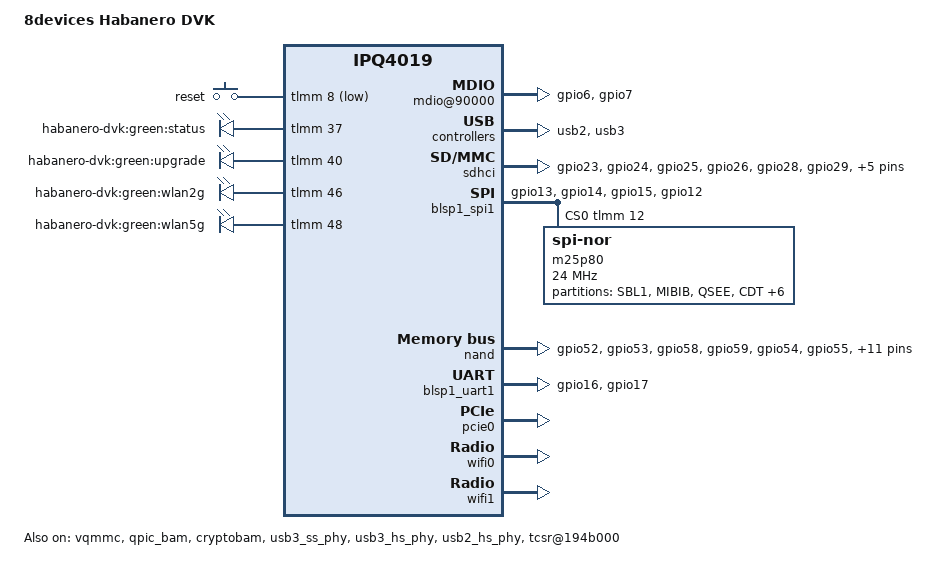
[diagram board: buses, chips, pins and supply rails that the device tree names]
/* Copyright (c) 2015, The Linux Foundation. All rights reserved.
 * Copyright (c) 2019, Robert Marko <robimarko@gmail.com>
 *
 * Permission to use, copy, modify, and/or distribute this software for any
 * purpose with or without fee is hereby granted, provided that the above
 * copyright notice and this permission notice appear in all copies.
 *
 * THE SOFTWARE IS PROVIDED "AS IS" AND THE AUTHOR DISCLAIMS ALL WARRANTIES
 * WITH REGARD TO THIS SOFTWARE INCLUDING ALL IMPLIED WARRANTIES OF
 * MERCHANTABILITY AND FITNESS. IN NO EVENT SHALL THE AUTHOR BE LIABLE FOR
 * ANY SPECIAL, DIRECT, INDIRECT, OR CONSEQUENTIAL DAMAGES OR ANY DAMAGES
 * WHATSOEVER RESULTING FROM LOSS OF USE, DATA OR PROFITS, WHETHER IN AN
 * ACTION OF CONTRACT, NEGLIGENCE OR OTHER TORTIOUS ACTION, ARISING OUT OF
 * OR IN CONNECTION WITH THE USE OR PERFORMANCE OF THIS SOFTWARE.
 *
 */

#include "qcom-ipq4019.dtsi"
#include <dt-bindings/gpio/gpio.h>
#include <dt-bindings/input/input.h>
#include <dt-bindings/soc/qcom,tcsr.h>

/ {
	model = "8devices Habanero DVK";
	compatible = "8dev,habanero-dvk";

	aliases {
		led-boot = &status;
		led-failsafe = &status;
		led-running = &status;
		led-upgrade = &upgrade;
		label-mac-device = &wifi0;
	};

	soc {
		rng@22000 {
			status = "okay";
		};

		mdio@90000 {
			status = "okay";
			pinctrl-0 = <&mdio_pins>;
			pinctrl-names = "default";
		};

		ess-psgmii@98000 {
			status = "okay";
		};

		counter@4a1000 {
			compatible = "qcom,qca-gcnt";
			reg = <0x4a1000 0x4>;
		};

		tcsr@1949000 {
			compatible = "qcom,tcsr";
			reg = <0x1949000 0x100>;
			qcom,wifi_glb_cfg = <TCSR_WIFI_GLB_CFG>;
		};

		tcsr@194b000 {
			/* select hostmode */
			compatible = "qcom,tcsr";
			reg = <0x194b000 0x100>;
			qcom,usb-hsphy-mode-select = <TCSR_USB_HSPHY_HOST_MODE>;
			status = "okay";
		};

		ess_tcsr@1953000 {
			compatible = "qcom,tcsr";
			reg = <0x1953000 0x1000>;
			qcom,ess-interface-select = <TCSR_ESS_PSGMII>;
		};

		tcsr@1957000 {
			compatible = "qcom,tcsr";
			reg = <0x1957000 0x100>;
			qcom,wifi_noc_memtype_m0_m2 = <TCSR_WIFI_NOC_MEMTYPE_M0_M2>;
		};

		usb2: usb2@60f8800 {
			status = "okay";
		};

		usb3: usb3@8af8800 {
			status = "okay";
		};

		crypto@8e3a000 {
			status = "okay";
		};

		watchdog@b017000 {
			status = "okay";
		};

		ess-switch@c000000 {
			status = "okay";
		};

		edma@c080000 {
			status = "okay";
		};
	};

	gpio-keys {
		compatible = "gpio-keys";

		reset {
			label = "reset";
			gpios = <&tlmm 8 GPIO_ACTIVE_LOW>;
			linux,code = <KEY_RESTART>;
		};
	};

	gpio-leds {
		compatible = "gpio-leds";

		status: status {
			label = "habanero-dvk:green:status";
			gpios = <&tlmm 37 GPIO_ACTIVE_HIGH>;
			panic-indicator;
		};

		upgrade: upgrade {
			label = "habanero-dvk:green:upgrade";
			gpios = <&tlmm 40 GPIO_ACTIVE_HIGH>;
		};

		wlan2g {
			label = "habanero-dvk:green:wlan2g";
			gpios = <&tlmm 46 GPIO_ACTIVE_HIGH>;
			linux,default-trigger = "phy0tpt";
		};

		wlan5g {
			label = "habanero-dvk:green:wlan5g";
			gpios = <&tlmm 48 GPIO_ACTIVE_HIGH>;
			linux,default-trigger = "phy1tpt";
		};
	};
};

&vqmmc {
	status = "okay";
};

&sdhci {
	pinctrl-0 = <&sd_pins>;
	pinctrl-names = "default";
	cd-gpios = <&tlmm 22 GPIO_ACTIVE_LOW>;
	vqmmc-supply = <&vqmmc>;
	status = "okay";
};

&qpic_bam {
	status = "okay";
};

&tlmm {
	mdio_pins: mdio_pinmux {
		mux_1 {
			pins = "gpio6";
			function = "mdio";
			bias-pull-up;
		};
		mux_2 {
			pins = "gpio7";
			function = "mdc";
			bias-pull-up;
		};
	};

	serial_pins: serial_pinmux {
		mux {
			pins = "gpio16", "gpio17";
			function = "blsp_uart0";
			bias-disable;
		};
	};

	spi_0_pins: spi_0_pinmux {
		pinmux {
			function = "blsp_spi0";
			pins = "gpio13", "gpio14", "gpio15";
			drive-strength = <12>;
			bias-disable;
		};
		pinmux_cs {
			function = "gpio";
			pins = "gpio12";
			drive-strength = <2>;
			bias-disable;
			output-high;
		};
	};

	nand_pins: nand_pins {
		pullups {
			pins =  "gpio52", "gpio53", "gpio58", "gpio59";
			function = "qpic";
			bias-pull-up;
		};

		pulldowns {
			pins = "gpio54", "gpio55", "gpio56", "gpio57",
				"gpio60", "gpio62", "gpio63", "gpio64",
				"gpio65", "gpio66", "gpio67", "gpio68",
				"gpio69";
			function = "qpic";
			bias-pull-down;
		};
	};

	sd_pins: sd_pins {
		pinmux {
			function = "sdio";
			pins = "gpio23", "gpio24", "gpio25", "gpio26",
				"gpio28", "gpio29", "gpio30", "gpio31";
			drive-strength = <10>;
		};
		pinmux_sd_clk {
			function = "sdio";
			pins = "gpio27";
			drive-strength = <16>;
		};
		pinmux_sd7 {
			function = "sdio";
			pins = "gpio32";
			drive-strength = <10>;
			bias-disable;
		};
	};
};

&blsp_dma {
	status = "okay";
};

&blsp1_spi1 {
	pinctrl-0 = <&spi_0_pins>;
	pinctrl-names = "default";
	status = "okay";
	cs-gpios = <&tlmm 12 GPIO_ACTIVE_HIGH>;

	m25p80@0 {
		compatible = "jedec,spi-nor";
		spi-max-frequency = <24000000>;
		reg = <0>;

		partitions {
			compatible = "fixed-partitions";
			#address-cells = <1>;
			#size-cells = <1>;

			partition0@0 {
				label = "SBL1";
				reg = <0x00000000 0x00040000>;
				read-only;
			};
			partition1@40000 {
				label = "MIBIB";
				reg = <0x00040000 0x00020000>;
				read-only;
			};
			partition2@60000 {
				label = "QSEE";
				reg = <0x00060000 0x00060000>;
				read-only;
			};
			partition3@c0000 {
				label = "CDT";
				reg = <0x000c0000 0x00010000>;
				read-only;
			};
			partition4@d0000 {
				label = "DDRPARAMS";
				reg = <0x000d0000 0x00010000>;
				read-only;
			};
			partition5@e0000 {
				label = "APPSBLENV"; /* uboot env*/
				reg = <0x000e0000 0x00010000>;
				read-only;
			};
			partition6@f0000 {
				label = "APPSBL"; /* uboot */
				reg = <0x000f0000 0x00080000>;
				read-only;
			};
			partition7@170000 {
				label = "ART";
				reg = <0x00170000 0x00010000>;
				read-only;
			};
			partition8@180000 {
				label = "cfg";
				reg = <0x00180000 0x00040000>;
			};
			partition9@1a0000 {
				label = "firmware";
				compatible = "denx,fit";
				reg = <0x001c0000 0x01e40000>;
			};
		};
	};
};

/* Some DVK boards ship with NAND soldered
 *while others dont */
&nand {
	pinctrl-0 = <&nand_pins>;
	pinctrl-names = "default";
	status = "okay";
};

&blsp1_uart1 {
	pinctrl-0 = <&serial_pins>;
	pinctrl-names = "default";
	status = "okay";
};

&cryptobam {
	status = "okay";
};

&pcie0 {
	status = "okay";
	perst-gpio = <&tlmm 38 GPIO_ACTIVE_LOW>;
	wake-gpio = <&tlmm 50 GPIO_ACTIVE_LOW>;

	/* Free slot for use */
	bridge@0,0 {
		reg = <0x00000000 0 0 0 0>;
		#address-cells = <3>;
		#size-cells = <2>;
		ranges;
	};
};

&wifi0 {
	status = "okay";
	qcom,ath10k-calibration-variant = "8devices-Habanero";
};

&wifi1 {
	status = "okay";
	qcom,ath10k-calibration-variant = "8devices-Habanero";
};

&usb3_ss_phy {
	status = "okay";
};

&usb3_hs_phy {
	status = "okay";
};

&usb2_hs_phy {
	status = "okay";
};
